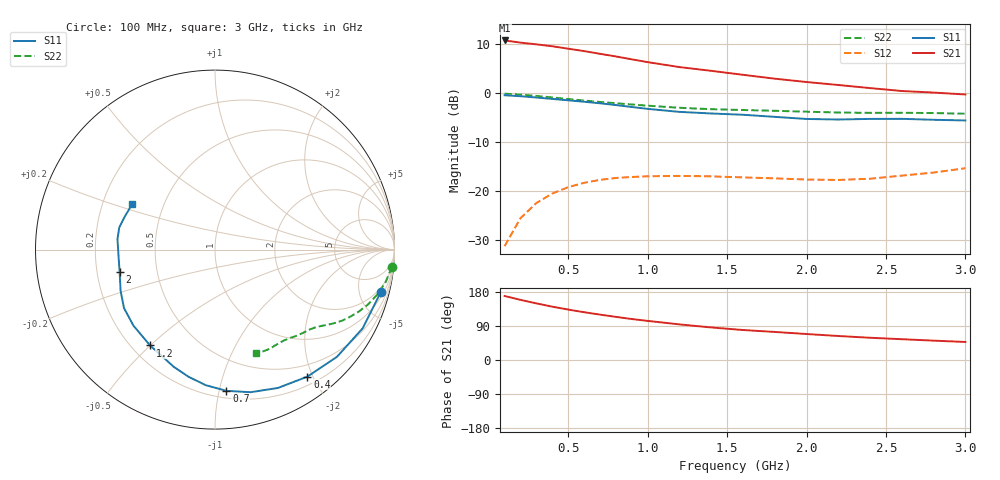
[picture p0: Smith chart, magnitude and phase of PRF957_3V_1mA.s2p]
! Philips part #:  PRF957  Date:  Nov 1998
! Bias condition:  Vce=3V, Ic=1.0mA
#  MHz  S  MA  R 50
! Freq  S11  S21  S12  S22
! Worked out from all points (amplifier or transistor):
!   20 points, 100 MHz to 3 GHz, reference 50 ohm
!   highest |S21| = 10.8 dB at 100 MHz (marker M1)
!   |S21| within 3 dB of that: start of sweep to 749.9 MHz
!   unconditionally stable (mu >= 1): 2.034 GHz to end of sweep
!   at 400 MHz: K = 0.15, MSG = 15.1 dB, |S12| = -20.5 dB
!   at 1.2 GHz: K = 0.51, MSG = 11.1 dB, |S12| = -16.9 dB
!   at 3 GHz: K = 1.17, MAG = 5.0 dB, |S12| = -15.3 dB
!   S11 on the Smith chart (normalised r, x): 100 MHz: 1.47, -7.71; 400 MHz: 0.32, -1.92; 700 MHz: 0.25, -1.05; 1.2 GHz: 0.27, -0.50; 2 GHz: 0.30, -0.11; 3 GHz: 0.33, +0.23
100  0.954 -14.3  3.468 168.9  0.02727 81.3  0.9907 -5.5
200  0.9325 -28.0  3.297 158.7  0.05275 73.6  0.9681 -10.7
300  0.9048 -41.3  3.164 149.4  0.07541 66.5  0.9387 -15.4
400  0.8752 -54.0  3.025 140.7  0.09423 60.2  0.9064 -19.6
500  0.8468 -65.5  2.857 133.1  0.1094 55.0  0.8725 -23.3
600  0.8189 -76.0  2.7 126.1  0.1212 50.5  0.8418 -26.3
700  0.7894 -85.4  2.532 119.8  0.1299 46.7  0.815 -28.9
800  0.7572 -93.9  2.381 113.8  0.1359 43.5  0.7905 -30.9
900  0.7236 -101.8  2.224 108.2  0.1392 41.0  0.7676 -32.7
1000  0.6922 -109.4  2.082 103.2  0.1414 39.0  0.7464 -34.3
1200  0.645 -124.1  1.853 94.0  0.1428 36.1  0.7104 -37.4
1400  0.6213 -137.0  1.696 85.9  0.1412 34.7  0.6871 -40.6
1600  0.6026 -147.3  1.544 79.1  0.1379 35.7  0.6738 -43.7
1800  0.5736 -156.5  1.41 74.1  0.1348 38.5  0.6619 -46.4
2000  0.5457 -166.8  1.303 68.6  0.131 42.6  0.6477 -49.3
2200  0.5389 -177.5  1.215 63.3  0.1298 48.1  0.6351 -53.0
2400  0.5465 173.8  1.13 58.7  0.1336 54.5  0.6303 -57.2
2600  0.5475 167.0  1.054 54.9  0.1437 61.2  0.6313 -61.0
2800  0.5353 160.0  1.017 51.1  0.1544 67.6  0.6274 -64.5
3000  0.5267 151.4  0.9715 47.6  0.1711 73.0  0.6173 -68.5
